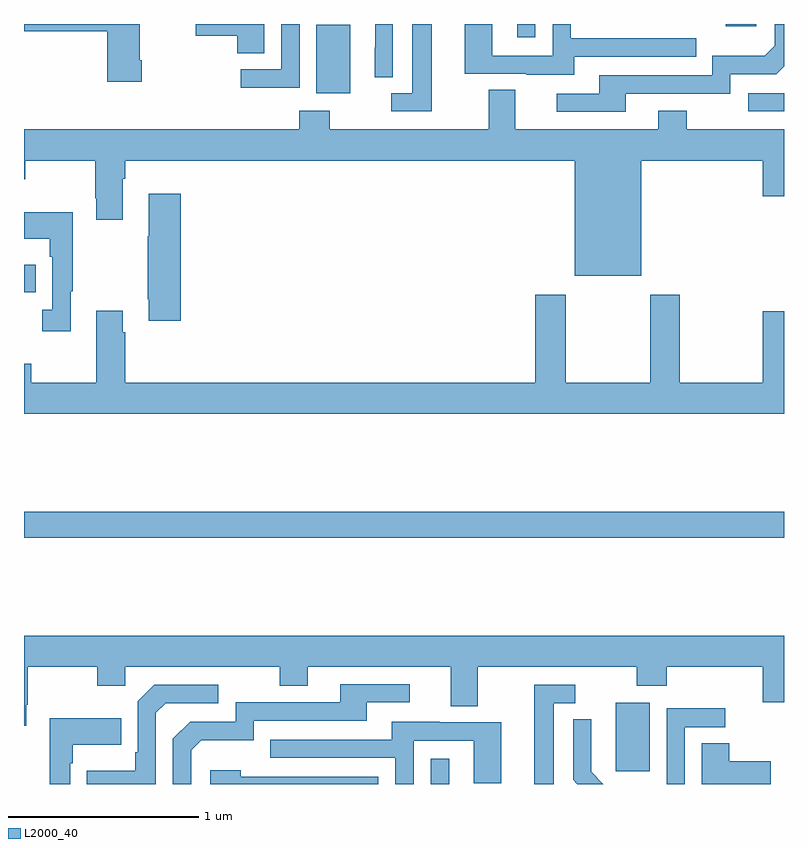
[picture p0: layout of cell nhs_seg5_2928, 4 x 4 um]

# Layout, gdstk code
import gdstk
lib = gdstk.Library(unit=1e-6, precision=1e-09)
def R(c, l, rs):  # rectangles x0, y0, x1, y1
    for r in rs: c.add(gdstk.rectangle(r[:2], r[2:], *l))
def P(c, l, *ps):  # polygons
    for p in ps: c.add(gdstk.Polygon(p, *l))
L2000_40 = (2000, 40)

nhs_seg5_2928 = lib.new_cell('nhs_seg5_2928')
R(nhs_seg5_2928, L2000_40, [(283.14,866.799,283.237,866.932), (284.114,866.865,284.293,867.226), (281,868.096,285,868.232), (281,869.386,281.063,869.533), (284.811,870.339,285,870.435), (282.539,870.434,282.718,870.795), (283.595,870.729,283.692,870.799), (284.693,870.788,284.854,870.799)])
P(nhs_seg5_2928, L2000_40, [(282.265,870.799),(281.904,870.799),(281.904,870.737),(282.122,870.737),(282.122,870.646),(282.265,870.646)],
  [(282.45,870.799),(282.354,870.799),(282.354,870.561),(282.141,870.561),(282.141,870.463),(282.45,870.463)],
  [(282.942,870.799),(282.846,870.799),(282.848,870.797),(282.848,870.674),(282.846,870.674),(282.846,870.52),(282.942,870.52)],
  [(283.897,870.627),(284.537,870.627),(284.537,870.723),(283.878,870.723),(283.878,870.799),(283.782,870.799),(283.782,870.633),(283.464,870.633),(283.464,870.799),(283.319,870.799),(283.319,870.537),(283.643,870.537),(283.643,870.533),(283.897,870.533)],
  [(284.167,870.432),(284.718,870.432),(284.718,870.534),(284.958,870.534),(285,870.576),(285,870.799),(284.952,870.799),(284.952,870.684),(284.899,870.631),(284.622,870.631),(284.622,870.528),(284.027,870.528),(284.027,870.432),(283.803,870.432),(283.803,870.336),(284.167,870.336)],
  [(281.621,870.607),(281.608,870.607),(281.608,870.799),(281,870.799),(281,870.76),(281.438,870.76),(281.438,870.495),(281.621,870.495)],
  [(283.147,870.799),(283.043,870.799),(283.043,870.435),(282.933,870.435),(282.933,870.339),(283.147,870.339)],
  [(284.248,870.08),(284.888,870.08),(284.888,869.892),(285,869.892),(285,870.244),(284.487,870.244),(284.487,870.343),(284.339,870.343),(284.339,870.244),(283.585,870.244),(283.585,870.452),(283.445,870.452),(283.445,870.244),(282.609,870.244),(282.609,870.343),(282.449,870.343),(282.449,870.244),(281,870.244),(281,869.981),(281.007,869.981),(281.007,870.08),(281.374,870.08),(281.374,869.881),(281.381,869.881),(281.381,869.769),(281.521,869.769),(281.521,869.984),(281.534,869.984),(281.534,870.08),(283.898,870.08),(283.898,869.474),(284.248,869.474)],
  [(281.825,869.905),(281.657,869.905),(281.657,869.681),(281.65,869.681),(281.65,869.35),(281.657,869.35),(281.657,869.238),(281.825,869.238)],
  [(281.245,869.393),(281.257,869.393),(281.257,869.809),(281,869.809),(281,869.669),(281.136,869.669),(281.136,869.573),(281.148,869.573),(281.148,869.294),(281.097,869.294),(281.097,869.181),(281.245,869.181)],
  [(285,869.287),(284.888,869.287),(284.888,868.912),(284.451,868.912),(284.451,869.374),(284.296,869.374),(284.296,868.912),(283.851,868.912),(283.851,869.374),(283.691,869.374),(283.691,868.912),(281.534,868.912),(281.534,869.177),(281.521,869.177),(281.521,869.29),(281.381,869.29),(281.381,868.912),(281.037,868.912),(281.037,869.011),(281,869.011),(281,868.748),(285,868.748)],
  [(281.011,867.217),(281.019,867.217),(281.019,867.416),(281.386,867.416),(281.386,867.317),(281.532,867.317),(281.532,867.416),(282.346,867.416),(282.346,867.317),(282.493,867.317),(282.493,867.416),(283.247,867.416),(283.247,867.208),(283.387,867.208),(283.387,867.416),(284.224,867.416),(284.224,867.317),(284.384,867.317),(284.384,867.416),(284.888,867.416),(284.888,867.228),(285,867.228),(285,867.58),(281,867.58),(281,867.105),(281.011,867.105)],
  [(281.88,866.976),(281.933,867.029),(282.21,867.029),(282.21,867.132),(282.805,867.132),(282.805,867.228),(283.03,867.228),(283.03,867.324),(282.665,867.324),(282.665,867.228),(282.114,867.228),(282.114,867.126),(281.874,867.126),(281.784,867.036),(281.784,866.799),(281.88,866.799)],
  [(283.789,867.225),(283.9,867.225),(283.9,867.321),(283.685,867.321),(283.685,866.799),(283.789,866.799)],
  [(281.694,867.174),(281.745,867.225),(282.022,867.225),(282.022,867.321),(281.685,867.321),(281.598,867.234),(281.598,866.965),(281.586,866.965),(281.586,866.869),(281.329,866.869),(281.329,866.799),(281.694,866.799)],
  [(284.478,867.099),(284.692,867.099),(284.692,867.198),(284.382,867.198),(284.382,866.799),(284.478,866.799)],
  [(281.244,866.909),(281.257,866.909),(281.257,867.005),(281.513,867.005),(281.513,867.145),(281.136,867.145),(281.136,866.799),(281.244,866.799)],
  [(283.985,866.864),(283.985,866.986),(283.986,866.986),(283.986,867.14),(283.89,867.14),(283.89,866.822),(283.913,866.799),(284.049,866.799)],
  [(283.05,867.027),(283.368,867.027),(283.368,866.803),(283.513,866.803),(283.513,867.123),(283.189,867.123),(283.189,867.127),(282.935,867.127),(282.935,867.033),(282.295,867.033),(282.295,866.937),(282.954,866.937),(282.954,866.799),(283.05,866.799)],
  [(284.929,866.919),(284.711,866.919),(284.711,867.014),(284.567,867.014),(284.567,866.799),(284.929,866.799)],
  [(282.864,866.838),(282.14,866.838),(282.14,866.872),(281.979,866.872),(281.979,866.799),(282.864,866.799)])

lib.write_gds('nhs_seg5_2928.gds')
